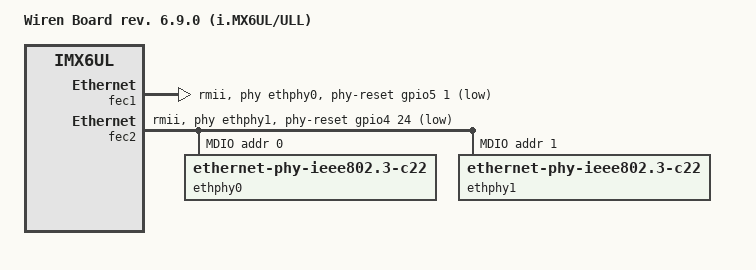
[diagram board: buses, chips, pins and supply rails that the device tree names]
/dts-v1/;

#include "imx6ul-wirenboard680.dts"

/ {
	model = "Wiren Board rev. 6.9.0 (i.MX6UL/ULL)";
	compatible = "contactless,imx6ul-wirenboard690", "contactless,imx6ul-wirenboard680", "contactless,imx6ul-wirenboard670", "contactless,imx6ul-wirenboard660", "contactless,imx6ul-wirenboard65", "contactless,imx6ul-wirenboard61", "contactless,imx6ul-wirenboard60", "contactless,imx6ul-wirenboard-evk", "fsl,imx6ul-14x14-evk", "fsl,imx6ul";
};

&iomuxc {
	/delete-node/ pinctrl_spilcd; // LCD connector has been removed

	pinctrl_wdg_gpio: wdggrp {
		fsl,pins = <
			MX6UL_PAD_LCD_DATA03__GPIO3_IO08	 0x30b0 /* watchdog toggle out */
		>;
	};
};

&pinctrl_io_gpio	{	/* LCD_DATA03 has become a WD-IN */
	fsl,pins = <
		MX6UL_PAD_LCD_DATA10__GPIO3_IO15	0x30b0 /* FET1 */
		MX6UL_PAD_LCD_DATA11__GPIO3_IO16	0x30b0 /* FET2 */
		MX6UL_PAD_LCD_DATA12__GPIO3_IO17	0x30b0 /* FET3 */
		MX6UL_PAD_LCD_DATA13__GPIO3_IO18	0x30b0 /* FET4 */
		MX6UL_PAD_SNVS_TAMPER4__GPIO5_IO04	0x30b0 /* MODEM_ON (GSM_POWER) */
		MX6UL_PAD_LCD_DATA15__GPIO3_IO20	0x30b0 /* POWER GSM (PWRKEY) */
		MX6UL_PAD_LCD_DATA14__GPIO3_IO19	0x30b0 /* STATUS GSM */
		MX6UL_PAD_LCD_DATA19__GPIO3_IO24	0x30b0 /* SIM select */
		MX6UL_PAD_UART1_CTS_B__GPIO1_IO18	0xf0b0 /* Battery STAT1, 22K Ohm pulled up */
		MX6UL_PAD_UART1_RTS_B__GPIO1_IO19	0xf0b0 /* Battery STAT2, 22K Ohm pulled up */
		MX6UL_PAD_JTAG_TDO__CCM_CLKO2	0xb0 /* 24MHz clock output */
		MX6UL_PAD_UART3_RTS_B__GPIO1_IO27	0x30b0 /* 5V enable */
		MX6UL_PAD_LCD_DATA04__GPIO3_IO09	0x30b0 /* V_OUT_ON */
		MX6UL_PAD_CSI_DATA02__GPIO4_IO23	0x70b0 /* RS-485-1 failsafe bias, pulled up */

		MX6UL_PAD_LCD_DATA09__GPIO3_IO14 	0x30b0 /* IN1 */
		MX6UL_PAD_LCD_DATA08__GPIO3_IO13 	0x30b0 /* IN2 */
		MX6UL_PAD_LCD_DATA23__GPIO3_IO28 	0x30b0 /* IN3 */
		MX6UL_PAD_LCD_DATA22__GPIO3_IO27 	0x30b0 /* IN4 */

		MX6UL_PAD_SNVS_TAMPER0__GPIO5_IO00	0x30b0 /* TERM RS485-1, 47K Ohm PD */
		MX6UL_PAD_SNVS_TAMPER2__GPIO5_IO02 0x30b0 /* TERM RS485-2, 47K Ohm PD */

		MX6UL_PAD_JTAG_MOD__GPIO1_IO10		0x80000000 /* SPDIF_OUT connected to MODULE 2 TX PIN via 3K, must be high when i2c*/
	>;
};


&pinctrl_enet1	{
	fsl,pins = <
		MX6UL_PAD_ENET1_RX_EN__ENET1_RX_EN	0x1b0b0
		MX6UL_PAD_ENET1_RX_ER__ENET1_RX_ER	0x1b0b0
		MX6UL_PAD_ENET1_RX_DATA0__ENET1_RDATA00	0x1b0b0
		MX6UL_PAD_ENET1_RX_DATA1__ENET1_RDATA01	0x1b0b0
		MX6UL_PAD_ENET1_TX_EN__ENET1_TX_EN	0x1b0b0
		MX6UL_PAD_ENET1_TX_DATA0__ENET1_TDATA00	0x1b0b0
		MX6UL_PAD_ENET1_TX_DATA1__ENET1_TDATA01	0x1b0b0
		MX6UL_PAD_ENET1_TX_CLK__ENET1_REF_CLK1	0x4001b031
		MX6UL_PAD_SNVS_TAMPER1__GPIO5_IO01 0x70b0 /*pulled up*/
	>;
};


&pinctrl_enet2	{	/* Since WB6.9.x Eth1 reset is independent from Eth0 */
	fsl,pins = <
		MX6UL_PAD_ENET2_RX_EN__ENET2_RX_EN	0x1b0b0
		MX6UL_PAD_ENET2_RX_DATA0__ENET2_RDATA00	0x1b0b0
		MX6UL_PAD_ENET2_RX_DATA1__ENET2_RDATA01	0x1b0b0
		MX6UL_PAD_ENET2_TX_EN__ENET2_TX_EN	0x1b0b0
		MX6UL_PAD_ENET2_TX_DATA0__ENET2_TDATA00	0x1b0b0
		MX6UL_PAD_ENET2_TX_DATA1__ENET2_TDATA01	0x1b0b0
		MX6UL_PAD_ENET2_TX_CLK__ENET2_REF_CLK2	0x4001b031
		MX6UL_PAD_GPIO1_IO07__ENET2_MDC		0x1b0b0
		MX6UL_PAD_GPIO1_IO06__ENET2_MDIO	0x1b0b0
		MX6UL_PAD_CSI_DATA03__GPIO4_IO24	0x70b0 /* RESET */
		MX6UL_PAD_ENET2_RX_ER__ENET2_RX_ER	0x1b0b0
	>;
};

&mcp6542	{
	/* external watchdog timer using mcp6542  */
	gpios = <&gpio3 8 0>;
};

&fec1 {
	pinctrl-names = "default";
	phy-handle = <&ethphy0>;
	pinctrl-0 = <&pinctrl_enet1>;
	phy-mode = "rmii";
	phy-reset-gpios = <&gpio5 1 GPIO_ACTIVE_LOW>;
	phy-reset-duration = <100>;
	status = "okay";

	/delete-node/ mdio;
};

&fec2 {
	pinctrl-names = "default";
	phy-handle = <&ethphy1>;
	pinctrl-0 = <&pinctrl_enet2>;
	phy-mode = "rmii";
	phy-reset-gpios = <&gpio4 24 GPIO_ACTIVE_LOW>;
	phy-reset-duration = <100>;
	status = "okay";

	mdio {
		#address-cells = <1>;
		#size-cells = <0>;

		ethphy0: ethernet-phy@0 {
			compatible = "ethernet-phy-ieee802.3-c22";
			reg = <0>;
			clocks = <&clks IMX6UL_CLK_ENET_REF>;
			clock-names = "rmii-ref";
			smsc,disable-energy-detect;
			status = "okay";
		};

		ethphy1: ethernet-phy@1 {
			compatible = "ethernet-phy-ieee802.3-c22";
			reg = <1>;
			clocks = <&clks IMX6UL_CLK_ENET2_REF_125M>;  // looks like naming bug; ordinary ref_clk
			clock-names = "rmii-ref";
			smsc,disable-energy-detect;
			status = "okay";
		};
	};
};

&gpio1 {
	gpio-line-names = 
	    "", // 0
		"", // 1
		"", // 2
		"", // 3
		"", // 4
		"", // 5
		"", // 6
		"", // 7
		"", // 8
		"MOD2 RTS", // 9
		"MOD2 TX MUXED", // 10
		"W2", // 11
		"", // 12
		"W2 UP", // 13
		"", // 14
		"", // 15
		"", // 16
		"", // 17
		"BATTERY CHARGING", // 18
		"BATTERY PRESENT", // 19
		"", // 20
		"", // 21
		"", // 22
		"CAN TXRX ON", // 23
		"MOD1 TX", // 24
		"MOD1 RX", // 25
		"MOD1 RTS", // 26
		"5V_OUT ON"; // 27
};

&gpio2 {
	gpio-line-names = 
		"", // 0
		"", // 1
		"", // 2
		"", // 3
		"", // 4
		"", // 5
		"", // 6
		"", // 7
		"", // 8
		"", // 9
		"", // 10
		"", // 11
		"", // 12
		"", // 13
		"", // 14
		"", // 15
		"RTC SDA", // 16
		"RTC SCL"; // 17
};

&gpio3 {
	gpio-line-names =
		"MOD4 RTS", // 0
		"", // 1
		"", // 2
		"EEPROM-1 SCL", // 3
		"W1", // 4
		"", // 5
		"EEPROM-2 SDA", // 6
		"EEPROM-2 SCL", // 7
		"WATCHDOG OUT", // 8
		"V_OUT ON", // 9
		"WI-FI ON", // 10
		"", // 11
		"EEPROM-1 SDA", // 12
		"A2 IN", // 13
		"A1 IN", // 14
		"A1 OUT", // 15
		"A2 OUT", // 16
		"A3 OUT", // 17
		"A4 OUT", // 18
		"GSM STATUS", // 19
		"GSM PWRKEY", // 20
		"MOD4 TX", // 21
		"MOD4 RX", // 22
		"", // 23
		"SIM_SELECT", // 24
		"", // 25
		"", // 26
		"A4 IN", // 27
		"A3 IN"; // 28
};

&gpio4 {
	gpio-line-names =
		"", // 0
		"", // 1
		"", // 2
		"", // 3
		"", // 4
		"", // 5
		"", // 6
		"", // 7
		"", // 8
		"", // 9
		"", // 10
		"USB0 ON", // 11
		"", // 12
		"", // 13
		"", // 14
		"", // 15
		"W1 UP", // 16
		"MOD3 TX", // 17
		"MOD3 RX", // 18
		"MOD3 RTS", // 19
		"RS-485-2 FAILSAFE", // 20
		"MOD2 TX", // 21
		"MOD2 RX", // 22
		"RS-485-1 FAILSAFE", // 23
		"", // 24
		"MOD4 SPI SCK", // 25
		"MOD4 SPI CS", // 26
		"MOD4 SPI MOSI", // 27
		"MOD4 SPI MISO"; // 28
};

&gpio5 {
	gpio-line-names =
		"RS-485-1 TERMINATION", // 0
		"", // 1
		"RS-485-2 TERMINATION", // 2
		"", // 3
		"GSM ON", // 4
		"", // 5
		"", // 6
		"", // 7
		"", // 8
		"", // 9
		"PUSHBUTTON"; // 10
};
